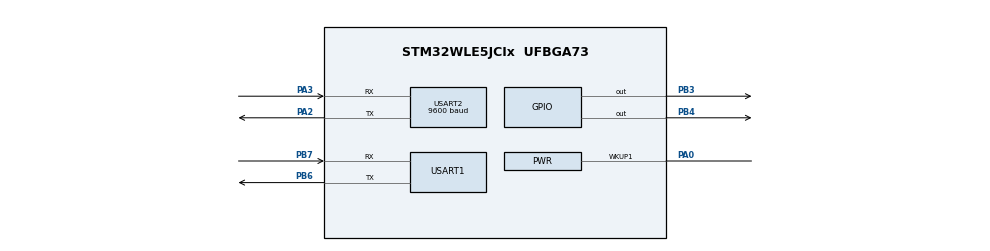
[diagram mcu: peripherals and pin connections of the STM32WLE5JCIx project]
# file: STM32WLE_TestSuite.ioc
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Dma.Request0=USART1_RX
Dma.Request1=USART1_TX
Dma.Request2=USART2_RX
Dma.Request3=USART2_TX
Dma.USART1_RX.0.Direction=DMA_PERIPH_TO_MEMORY
Dma.USART1_RX.0.EventEnable=DISABLE
Dma.USART1_RX.0.Instance=DMA1_Channel1
Dma.USART1_RX.0.MemDataAlignment=DMA_MDATAALIGN_BYTE
Dma.USART1_RX.0.MemInc=DMA_MINC_ENABLE
Dma.USART1_RX.0.Mode=DMA_NORMAL
Dma.USART1_RX.0.PeriphDataAlignment=DMA_PDATAALIGN_BYTE
Dma.USART1_RX.0.PeriphInc=DMA_PINC_DISABLE
Dma.USART1_RX.0.Polarity=HAL_DMAMUX_REQ_GEN_RISING
Dma.USART1_RX.0.Priority=DMA_PRIORITY_LOW
Dma.USART1_RX.0.RequestNumber=1
Dma.USART1_RX.0.SignalID=NONE
Dma.USART1_RX.0.SyncEnable=DISABLE
Dma.USART1_RX.0.SyncPolarity=HAL_DMAMUX_SYNC_NO_EVENT
Dma.USART1_RX.0.SyncRequestNumber=1
Dma.USART1_RX.0.SyncSignalID=NONE
Dma.USART1_TX.1.Direction=DMA_MEMORY_TO_PERIPH
Dma.USART1_TX.1.EventEnable=DISABLE
Dma.USART1_TX.1.Instance=DMA1_Channel2
Dma.USART1_TX.1.MemDataAlignment=DMA_MDATAALIGN_BYTE
Dma.USART1_TX.1.MemInc=DMA_MINC_ENABLE
Dma.USART1_TX.1.Mode=DMA_NORMAL
Dma.USART1_TX.1.PeriphDataAlignment=DMA_PDATAALIGN_BYTE
Dma.USART1_TX.1.PeriphInc=DMA_PINC_DISABLE
Dma.USART1_TX.1.Polarity=HAL_DMAMUX_REQ_GEN_RISING
Dma.USART1_TX.1.Priority=DMA_PRIORITY_LOW
Dma.USART1_TX.1.RequestNumber=1
Dma.USART1_TX.1.SignalID=NONE
Dma.USART1_TX.1.SyncEnable=DISABLE
Dma.USART1_TX.1.SyncPolarity=HAL_DMAMUX_SYNC_NO_EVENT
Dma.USART1_TX.1.SyncRequestNumber=1
Dma.USART1_TX.1.SyncSignalID=NONE
Dma.USART2_RX.2.Direction=DMA_PERIPH_TO_MEMORY
Dma.USART2_RX.2.EventEnable=ENABLE
Dma.USART2_RX.2.Instance=DMA2_Channel1
Dma.USART2_RX.2.MemDataAlignment=DMA_MDATAALIGN_BYTE
Dma.USART2_RX.2.MemInc=DMA_MINC_ENABLE
Dma.USART2_RX.2.Mode=DMA_CIRCULAR
Dma.USART2_RX.2.PeriphDataAlignment=DMA_PDATAALIGN_BYTE
Dma.USART2_RX.2.PeriphInc=DMA_PINC_DISABLE
Dma.USART2_RX.2.Polarity=HAL_DMAMUX_REQ_GEN_RISING
Dma.USART2_RX.2.Priority=DMA_PRIORITY_LOW
Dma.USART2_RX.2.RequestNumber=1
Dma.USART2_RX.2.SignalID=NONE
Dma.USART2_RX.2.SyncEnable=DISABLE
Dma.USART2_RX.2.SyncPolarity=HAL_DMAMUX_SYNC_NO_EVENT
Dma.USART2_RX.2.SyncRequestNumber=1
Dma.USART2_RX.2.SyncSignalID=NONE
Dma.USART2_TX.3.Direction=DMA_MEMORY_TO_PERIPH
Dma.USART2_TX.3.EventEnable=ENABLE
Dma.USART2_TX.3.Instance=DMA2_Channel2
Dma.USART2_TX.3.MemDataAlignment=DMA_MDATAALIGN_BYTE
Dma.USART2_TX.3.MemInc=DMA_MINC_ENABLE
Dma.USART2_TX.3.Mode=DMA_CIRCULAR
Dma.USART2_TX.3.PeriphDataAlignment=DMA_PDATAALIGN_BYTE
Dma.USART2_TX.3.PeriphInc=DMA_PINC_DISABLE
Dma.USART2_TX.3.Polarity=HAL_DMAMUX_REQ_GEN_RISING
Dma.USART2_TX.3.Priority=DMA_PRIORITY_LOW
Dma.USART2_TX.3.RequestNumber=1
Dma.USART2_TX.3.SignalID=NONE
Dma.USART2_TX.3.SyncEnable=DISABLE
Dma.USART2_TX.3.SyncPolarity=HAL_DMAMUX_SYNC_NO_EVENT
Dma.USART2_TX.3.SyncRequestNumber=1
Dma.USART2_TX.3.SyncSignalID=NONE
FREERTOS.Tasks01=defaultTask,24,128,StartDefaultTask,Default,NULL,Dynamic,NULL,NULL
Mcu.Family=STM32WL
Mcu.Name=STM32WLE5JCIx
Mcu.Package=UFBGA73
NVIC.DMA1_Channel1_IRQn=true\:5\:0\:false\:false\:true\:true\:false\:true\:true
NVIC.DMA1_Channel2_IRQn=true\:5\:0\:false\:false\:true\:true\:false\:true\:true
NVIC.DMA2_Channel1_IRQn=true\:5\:0\:false\:false\:true\:true\:false\:true\:true
NVIC.DMA2_Channel2_IRQn=true\:5\:0\:false\:false\:true\:false\:false\:true\:true
NVIC.DMAMUX1_OVR_IRQn=true\:5\:0\:false\:false\:true\:false\:false\:true\:true
NVIC.PriorityGroup=NVIC_PRIORITYGROUP_4
NVIC.TIM1_UP_IRQn=true\:15\:0\:false\:false\:true\:false\:false\:true\:true
NVIC.TimeBase=TIM1_UP_IRQn
NVIC.TimeBaseIP=TIM1
NVIC.USART1_IRQn=true\:5\:0\:false\:false\:true\:true\:false\:true\:true
NVIC.USART2_IRQn=true\:5\:0\:false\:false\:true\:true\:true\:true\:true
PA0.Mode=WakeUp0
PA0.Signal=PWR_WKUP1
PA11.Mode=RF-NRESET
PA11.Signal=DEBUG_RF-NRESET
PA12.Mode=RF-BUSY
PA12.Signal=DEBUG_RF-BUSY
PA2.Mode=Asynchronous
PA2.Signal=USART2_TX
PA3.Mode=Asynchronous
PA3.Signal=USART2_RX
PB3.Signal=GPIO_Output
PB4.Signal=GPIO_Output
PB6.Mode=Asynchronous
PB6.Signal=USART1_TX
PB7.Mode=Asynchronous
PB7.Signal=USART1_RX
ProjectManager.HeapSize=0x200
ProjectManager.StackSize=0x400
ProjectManager.TargetToolchain=CMake
RCC.AHBFreq_Value=8000000
RCC.APB1Freq_Value=8000000
RCC.APB1TimFreq_Value=8000000
RCC.APB2Freq_Value=8000000
RCC.APB2TimFreq_Value=8000000
RCC.APB3Freq_Value=8000000
RCC.CortexFreq_Value=8000000
RCC.HCLKFreq_Value=8000000
RCC.HSE_VALUE=8000000
RCC.HSI_VALUE=16000000
RCC.LSE_VALUE=32768
RCC.MSIClockRange=RCC_MSIRANGE_7
RCC.SYSCLKFreq_VALUE=8000000
RCC.VCOOutputFreq_Value=64000000
SUBGHZ_PHY.USE_RTC=false
SUBGHZ_PHY.USE_UART=true
SubGHz_Phy.BSP.number=1
SubGHz_Phy0.BSP.STBoard=false
SubGHz_Phy0.BSP.api=Unknown
SubGHz_Phy0.BSP.condition=\!SEM_SUBGHZ_USER_APPLICATION | SEM_SUBGHZ_USE_UART
SubGHz_Phy0.BSP.instance=USART1
SubGHz_Phy0.BSP.ip=(LPU|US)ART
SubGHz_Phy0.BSP.mode=Asynchronous
SubGHz_Phy0.BSP.name=USART
SubGHz_Phy0.BSP.solution=USART1
USART1.VirtualMode-Asynchronous=VM_ASYNC
USART2.BaudRate=9600
USART2.VirtualMode-Asynchronous=VM_ASYNC
VP_ADV_TRACE_VS_ADV_TRACE.Mode=ADV_TRACE_Enabled
VP_FREERTOS_VS_CMSIS_V2.Mode=CMSIS_V2
VP_LPTIM1_VS_LPTIM_counterModeInternalClock.Mode=Counts__internal_clock_event_00
VP_MISC_VS_MISC.Mode=MISC_Enabled
VP_RNG_VS_RNG.Mode=RNG_Activate
VP_SUBGHZ_PHY_VS_SubGhzPhy.Mode=SubGhzPhy_Enabled
VP_SUBGHZ_VS_SUBGHZ.Mode=SUBGHZ_Activate
VP_SYS_VS_tim1.Mode=TIM1
VP_TIMER_VS_TIMER.Mode=TIMER_Enabled
VP_TINY_LPM_VS_TINY_LPM.Mode=TINY_LPM_Enabled
board=custom

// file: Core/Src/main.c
/* USER CODE BEGIN Header */
/**
  ******************************************************************************
  * @file           : main.c
  * @brief          : Main program body
  ******************************************************************************
  * @attention
  *
  * Copyright (c) 2026 STMicroelectronics.
  * All rights reserved.
  *
  * This software is licensed under terms that can be found in the LICENSE file
  * in the root directory of this software component.
  * If no LICENSE file comes with this software, it is provided AS-IS.
  *
  ******************************************************************************
  */
/* USER CODE END Header */
#include "main.h"
#include "cmsis_os2.h"
#include "FreeRTOS.h"
#include "app_subghz_phy.h"

/* USER CODE BEGIN Includes */
#include "subghz_phy_app.h"
#include "sys_app.h"
#include "usart_if.h"
/* USER CODE END Includes */

LPTIM_HandleTypeDef hlptim1;

RNG_HandleTypeDef hrng;

SUBGHZ_HandleTypeDef hsubghz;

UART_HandleTypeDef huart1;
UART_HandleTypeDef huart2;
DMA_HandleTypeDef hdma_usart1_rx;
DMA_HandleTypeDef hdma_usart1_tx;
DMA_HandleTypeDef hdma_usart2_rx;
DMA_HandleTypeDef hdma_usart2_tx;

/* Definitions for defaultTask */
osThreadId_t defaultTaskHandle;
const osThreadAttr_t defaultTask_attributes = {
  .name = "defaultTask",
  .priority = (osPriority_t) osPriorityNormal,
  .stack_size = 128 * 4
};
/* USER CODE BEGIN PV */
osThreadId_t echoTaskHandle;
const osThreadAttr_t echoTask_attributes = {
  .name = "echoTask",
  .priority = (osPriority_t) osPriorityNormal,
  .stack_size = 128 * 4
};

/* USER CODE END PV */

void SystemClock_Config(void);
static void MX_GPIO_Init(void);
static void MX_DMA_Init(void);
static void MX_LPTIM1_Init(void);
static void MX_USART1_UART_Init(void);
static void MX_RNG_Init(void);
static void MX_USART2_UART_Init(void);
void StartDefaultTask(void *argument);
// void UART2_Rx_Init(void);

int main(void)
{

  /* MCU Configuration--------------------------------------------------------*/

  /* Reset of all peripherals, Initializes the Flash interface and the Systick. */
  HAL_Init();

  /* USER CODE BEGIN Init */
  SubghzApp_Init();

  /* USER CODE END Init */

  /* Configure the system clock */
  SystemClock_Config();

  /* Initialize all configured peripherals */
  MX_GPIO_Init();
  MX_DMA_Init();
  MX_LPTIM1_Init();
  MX_USART1_UART_Init();
  MX_RNG_Init();
  MX_USART2_UART_Init();
  /* USER CODE BEGIN 2 */

  HAL_UART_MspInit(&huart1);
  HAL_UART_MspInit(&huart2);

  SystemApp_Init();

  // UartEcho_Init();

  /* USER CODE BEGIN 2 */

  /* USER CODE END 2 */

  /* Init scheduler */

  osKernelInitialize();

  /* Create the thread(s) */
  /* creation of defaultTask */
  UART2_Rx_Init();
//  defaultTaskHandle = osThreadNew(StartDefaultTask, NULL, &defaultTask_attributes);

  /* Start scheduler */
  osKernelStart();

  /* We should never get here as control is now taken by the scheduler */

  /* Infinite loop */
  while (1)
  {

  }
}

void SystemClock_Config(void)
{
  RCC_OscInitTypeDef RCC_OscInitStruct = {0};
  RCC_ClkInitTypeDef RCC_ClkInitStruct = {0};

  /** Configure the main internal regulator output voltage
  */
  __HAL_PWR_VOLTAGESCALING_CONFIG(PWR_REGULATOR_VOLTAGE_SCALE2);

  /** Initializes the CPU, AHB and APB buses clocks
  */
  RCC_OscInitStruct.OscillatorType = RCC_OSCILLATORTYPE_LSI|RCC_OSCILLATORTYPE_MSI;
  RCC_OscInitStruct.MSIState = RCC_MSI_ON;
  RCC_OscInitStruct.MSICalibrationValue = RCC_MSICALIBRATION_DEFAULT;
  RCC_OscInitStruct.MSIClockRange = RCC_MSIRANGE_7;
  RCC_OscInitStruct.LSIDiv = RCC_LSI_DIV1;
  RCC_OscInitStruct.LSIState = RCC_LSI_ON;
  RCC_OscInitStruct.PLL.PLLState = RCC_PLL_NONE;
  if (HAL_RCC_OscConfig(&RCC_OscInitStruct) != HAL_OK)
  {
    Error_Handler();
  }

  /** Configure the SYSCLKSource, HCLK, PCLK1 and PCLK2 clocks dividers
  */
  RCC_ClkInitStruct.ClockType = RCC_CLOCKTYPE_HCLK3|RCC_CLOCKTYPE_HCLK
                              |RCC_CLOCKTYPE_SYSCLK|RCC_CLOCKTYPE_PCLK1
                              |RCC_CLOCKTYPE_PCLK2;
  RCC_ClkInitStruct.SYSCLKSource = RCC_SYSCLKSOURCE_MSI;
  RCC_ClkInitStruct.AHBCLKDivider = RCC_SYSCLK_DIV1;
  RCC_ClkInitStruct.APB1CLKDivider = RCC_HCLK_DIV1;
  RCC_ClkInitStruct.APB2CLKDivider = RCC_HCLK_DIV1;
  RCC_ClkInitStruct.AHBCLK3Divider = RCC_SYSCLK_DIV1;

  if (HAL_RCC_ClockConfig(&RCC_ClkInitStruct, FLASH_LATENCY_0) != HAL_OK)
  {
    Error_Handler();
  }
}

static void MX_LPTIM1_Init(void)
{

  hlptim1.Instance = LPTIM1;
  hlptim1.Init.Clock.Source = LPTIM_CLOCKSOURCE_APBCLOCK_LPOSC;
  hlptim1.Init.Clock.Prescaler = LPTIM_PRESCALER_DIV1;
  hlptim1.Init.Trigger.Source = LPTIM_TRIGSOURCE_SOFTWARE;
  hlptim1.Init.OutputPolarity = LPTIM_OUTPUTPOLARITY_HIGH;
  hlptim1.Init.UpdateMode = LPTIM_UPDATE_IMMEDIATE;
  hlptim1.Init.CounterSource = LPTIM_COUNTERSOURCE_INTERNAL;
  hlptim1.Init.Input1Source = LPTIM_INPUT1SOURCE_GPIO;
  hlptim1.Init.Input2Source = LPTIM_INPUT2SOURCE_GPIO;
  if (HAL_LPTIM_Init(&hlptim1) != HAL_OK)
  {
    Error_Handler();
  }

}

static void MX_RNG_Init(void)
{

  hrng.Instance = RNG;
  hrng.Init.ClockErrorDetection = RNG_CED_ENABLE;
  if (HAL_RNG_Init(&hrng) != HAL_OK)
  {
    Error_Handler();
  }

}

void MX_SUBGHZ_Init(void)
{

  hsubghz.Init.BaudratePrescaler = SUBGHZSPI_BAUDRATEPRESCALER_8;
  if (HAL_SUBGHZ_Init(&hsubghz) != HAL_OK)
  {
    Error_Handler();
  }

}

static void MX_USART1_UART_Init(void)
{

  huart1.Instance = USART1;
  huart1.Init.BaudRate = 115200;
  huart1.Init.WordLength = UART_WORDLENGTH_8B;
  huart1.Init.StopBits = UART_STOPBITS_1;
  huart1.Init.Parity = UART_PARITY_NONE;
  huart1.Init.Mode = UART_MODE_TX_RX;
  huart1.Init.HwFlowCtl = UART_HWCONTROL_NONE;
  huart1.Init.OverSampling = UART_OVERSAMPLING_16;
  huart1.Init.OneBitSampling = UART_ONE_BIT_SAMPLE_DISABLE;
  huart1.Init.ClockPrescaler = UART_PRESCALER_DIV1;
  huart1.AdvancedInit.AdvFeatureInit = UART_ADVFEATURE_NO_INIT;
  if (HAL_UART_Init(&huart1) != HAL_OK)
  {
    Error_Handler();
  }
  if (HAL_UARTEx_SetTxFifoThreshold(&huart1, UART_TXFIFO_THRESHOLD_1_8) != HAL_OK)
  {
    Error_Handler();
  }
  if (HAL_UARTEx_SetRxFifoThreshold(&huart1, UART_RXFIFO_THRESHOLD_1_8) != HAL_OK)
  {
    Error_Handler();
  }
  if (HAL_UARTEx_DisableFifoMode(&huart1) != HAL_OK)
  {
    Error_Handler();
  }

}

static void MX_USART2_UART_Init(void)
{

  huart2.Instance = USART2;
  huart2.Init.BaudRate = 9600;
  huart2.Init.WordLength = UART_WORDLENGTH_8B;
  huart2.Init.StopBits = UART_STOPBITS_1;
  huart2.Init.Parity = UART_PARITY_NONE;
  huart2.Init.Mode = UART_MODE_TX_RX;
  huart2.Init.HwFlowCtl = UART_HWCONTROL_NONE;
  huart2.Init.OverSampling = UART_OVERSAMPLING_16;
  huart2.Init.OneBitSampling = UART_ONE_BIT_SAMPLE_DISABLE;
  huart2.Init.ClockPrescaler = UART_PRESCALER_DIV1;
  huart2.AdvancedInit.AdvFeatureInit = UART_ADVFEATURE_NO_INIT;
  if (HAL_UART_Init(&huart2) != HAL_OK)
  {
    Error_Handler();
  }
  if (HAL_UARTEx_SetTxFifoThreshold(&huart2, UART_TXFIFO_THRESHOLD_1_8) != HAL_OK)
  {
    Error_Handler();
  }
  if (HAL_UARTEx_SetRxFifoThreshold(&huart2, UART_RXFIFO_THRESHOLD_1_8) != HAL_OK)
  {
    Error_Handler();
  }
  if (HAL_UARTEx_DisableFifoMode(&huart2) != HAL_OK)
  {
    Error_Handler();
  }

}

static void MX_DMA_Init(void)
{

  /* DMA controller clock enable */
  __HAL_RCC_DMAMUX1_CLK_ENABLE();
  __HAL_RCC_DMA1_CLK_ENABLE();
  __HAL_RCC_DMA2_CLK_ENABLE();

  /* DMA interrupt init */
  /* DMA1_Channel1_IRQn interrupt configuration */
  HAL_NVIC_SetPriority(DMA1_Channel1_IRQn, 5, 0);
  HAL_NVIC_EnableIRQ(DMA1_Channel1_IRQn);
  /* DMA1_Channel2_IRQn interrupt configuration */
  HAL_NVIC_SetPriority(DMA1_Channel2_IRQn, 5, 0);
  HAL_NVIC_EnableIRQ(DMA1_Channel2_IRQn);
  /* DMA2_Channel1_IRQn interrupt configuration */
  HAL_NVIC_SetPriority(DMA2_Channel1_IRQn, 5, 0);
  HAL_NVIC_EnableIRQ(DMA2_Channel1_IRQn);
  /* DMA2_Channel2_IRQn interrupt configuration */
  HAL_NVIC_SetPriority(DMA2_Channel2_IRQn, 5, 0);
  HAL_NVIC_EnableIRQ(DMA2_Channel2_IRQn);
  /* DMAMUX1_OVR_IRQn interrupt configuration */
  HAL_NVIC_SetPriority(DMAMUX1_OVR_IRQn, 5, 0);
  HAL_NVIC_EnableIRQ(DMAMUX1_OVR_IRQn);

}

static void MX_GPIO_Init(void)
{
  GPIO_InitTypeDef GPIO_InitStruct = {0};

  /* GPIO Ports Clock Enable */
  __HAL_RCC_GPIOA_CLK_ENABLE();
  __HAL_RCC_GPIOB_CLK_ENABLE();

  /*Configure GPIO pin Output Level */
  HAL_GPIO_WritePin(GPIOB, GPIO_PIN_3|GPIO_PIN_4, GPIO_PIN_RESET);

  /*Configure GPIO pin : PA12 */
  GPIO_InitStruct.Pin = GPIO_PIN_12;
  GPIO_InitStruct.Mode = GPIO_MODE_AF_PP;
  GPIO_InitStruct.Pull = GPIO_NOPULL;
  GPIO_InitStruct.Speed = GPIO_SPEED_FREQ_LOW;
  GPIO_InitStruct.Alternate = GPIO_AF6_RF_BUSY;
  HAL_GPIO_Init(GPIOA, &GPIO_InitStruct);

  /*Configure GPIO pin : PA11 */
  GPIO_InitStruct.Pin = GPIO_PIN_11;
  GPIO_InitStruct.Mode = GPIO_MODE_AF_PP;
  GPIO_InitStruct.Pull = GPIO_NOPULL;
  GPIO_InitStruct.Speed = GPIO_SPEED_FREQ_LOW;
  GPIO_InitStruct.Alternate = GPIO_AF13_DEBUG_RF;
  HAL_GPIO_Init(GPIOA, &GPIO_InitStruct);

  /*Configure GPIO pins : PB3 PB4 */
  GPIO_InitStruct.Pin = GPIO_PIN_3|GPIO_PIN_4;
  GPIO_InitStruct.Mode = GPIO_MODE_OUTPUT_PP;
  GPIO_InitStruct.Pull = GPIO_NOPULL;
  GPIO_InitStruct.Speed = GPIO_SPEED_FREQ_LOW;
  HAL_GPIO_Init(GPIOB, &GPIO_InitStruct);

}

// uint8_t char2Rx_IT = 0;
// void UART2_Rx_Init()
// {
//   UART_WakeUpTypeDef WakeUpSelection;
//   WakeUpSelection.WakeUpEvent = UART_WAKEUP_ON_STARTBIT;
//   while (__HAL_UART_GET_FLAG(&huart2, USART_ISR_BUSY) == SET);

//   /* Make sure that UART is ready to receive)   */
//   while (__HAL_UART_GET_FLAG(&huart2, USART_ISR_REACK) == RESET);
//   /* Enable USART interrupt */
//   __HAL_UART_ENABLE_IT(&huart2, UART_IT_WUF);

//   /*Enable wakeup from stop mode*/
//   HAL_UARTEx_EnableStopMode(&huart2);

//   /*Start LPUART receive on IT*/
//   HAL_UART_Receive_IT(&huart2, &char2Rx_IT, 1);
// //  HAL_UART_Receive_DMA(&huart2, &char2Rx_DMA, 1);
// }

/* USER CODE BEGIN 4 */
void StartEchoTask(void * argument)
{
  /* USER CODE BEGIN 5 */
  /* Infinite loop */
  int delay = 500;
  uint32_t random_num = 0;
  APP_LOG(TS_OFF, VLEVEL_M, "Echo Task Started\r\n");
  // UartEcho_Process();
  for(;;)
  {
    HAL_RNG_GenerateRandomNumber(&hrng, &random_num);
    // APP_LOG(TS_OFF, VLEVEL_M, "\nTick Rand:%d\n\r", random_num % 100);
    // UartEcho_Process();
    HAL_GPIO_WritePin(GPIOB, GPIO_PIN_3, 0);
    osDelay(delay);
    HAL_GPIO_WritePin(GPIOB, GPIO_PIN_3, 1);
    osDelay(delay);
  }
  /* USER CODE END 5 */
}

/* USER CODE END 4 */

void StartDefaultTask(void *argument)
{
  /* init code for SubGHz_Phy */
  MX_SubGHz_Phy_Init();
  /* USER CODE BEGIN 5 */
  /* Infinite loop */
  int delay = 1000;
  uint32_t random_num = 0;
  APP_PRINTF("\nStarting Default Task\n\r");
  // UartEcho_Process();
  for(;;)
  {
	HAL_RNG_GenerateRandomNumber(&hrng, &random_num);
	APP_PRINTF("\nEcho:%d\n\r", random_num % 100);
	osDelay(delay);
  }
  /* USER CODE END 5 */
}

void HAL_TIM_PeriodElapsedCallback(TIM_HandleTypeDef *htim)
{
  if (htim->Instance == TIM1)
  {
    HAL_IncTick();
  }
}

void Error_Handler(void)
{
  /* USER CODE BEGIN Error_Handler_Debug */
  /* User can add his own implementation to report the HAL error return state */
  __disable_irq();
  HAL_GPIO_WritePin(GPIOB, GPIO_PIN_4, 1);
  while (1)
  {
  }
  /* USER CODE END Error_Handler_Debug */
}
